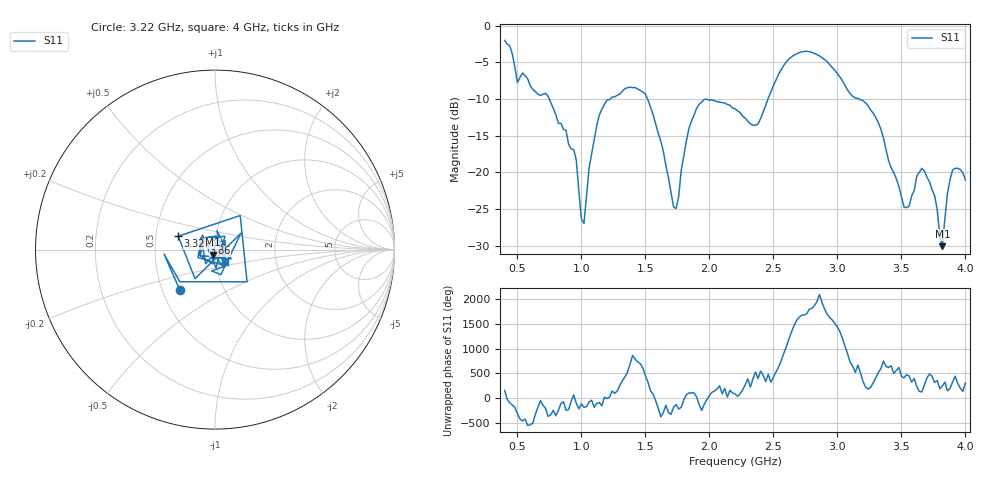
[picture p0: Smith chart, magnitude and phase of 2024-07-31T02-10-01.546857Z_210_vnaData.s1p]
!Created with skrf (http://scikit-rf.org).
# Hz S RI R 50.0
!freq ReS11 ImS11
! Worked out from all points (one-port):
!   181 points, 400 MHz to 4 GHz, reference 50 ohm
!   lowest |S11| = -30.1 dB at 3.82 GHz (marker M1), VSWR 1.06, Z = 48.7 - j2.84 ohm
!   |S11| at or under -10 dB: 749 MHz to 1.226 GHz (476.7 MHz wide, 48.3 % of centre); 1.517 GHz to 2.458 GHz (941.1 MHz wide, 47.4 % of centre); 3.169 GHz to end of sweep
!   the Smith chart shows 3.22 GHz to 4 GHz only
!   S11 on the Smith chart (normalised r, x): 3.22 GHz: 0.61, -0.30; 3.32 GHz: 0.65, +0.10; 3.86 GHz: 0.88, +0.06; 4 GHz: 1.11, -0.15
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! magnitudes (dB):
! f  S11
! 400 MHz  -2.0
! 500 MHz  -7.8
! 720 MHz  -9.2
! 860 MHz  -14.1
! 960 MHz  -18.3
! 1.02 GHz  -27.0
! 1.06 GHz  -19.4
! 1.14 GHz  -12.2
! 1.3 GHz  -9.3
! 1.5 GHz  -9.3
! 1.72 GHz  -24.7
! 1.76 GHz  -23.3
! 1.84 GHz  -14.0
! 1.92 GHz  -10.7
! 2.2 GHz  -11.3
! 2.38 GHz  -13.4
! 2.66 GHz  -4.0
! 2.86 GHz  -4.1
! 3.1 GHz  -9.3
! 3.22 GHz  -10.5
! 3.32 GHz  -13.2
! 3.56 GHz  -24.6
! 3.68 GHz  -19.8
! 3.76 GHz  -23.2
! 3.82 GHz  -30.1
! 3.86 GHz  -22.9
! 3.9 GHz  -19.7
! 4 GHz  -21.0
